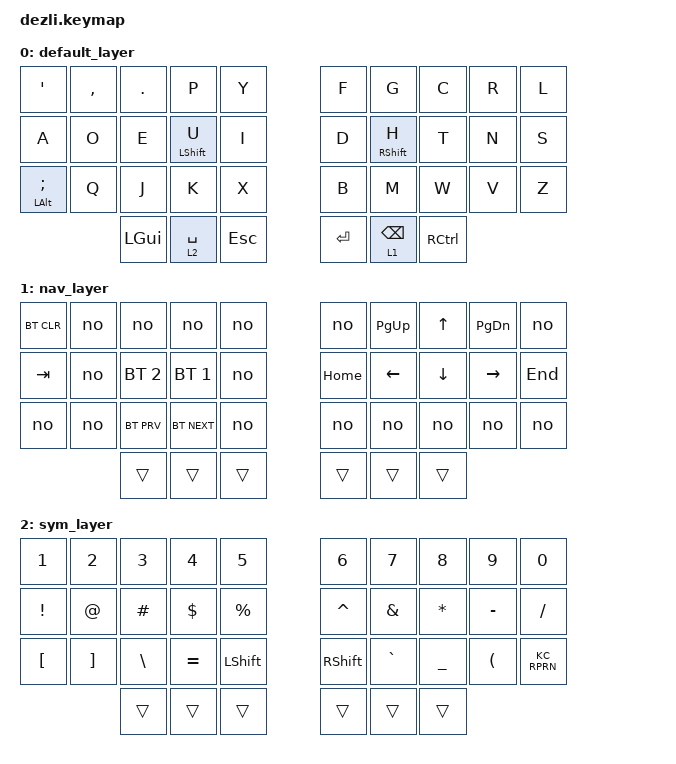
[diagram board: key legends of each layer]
/*
 * Copyright (c) 2020 The ZMK Contributors
 *
 * SPDX-License-Identifier: MIT
 */

#include <behaviors.dtsi>
#include <dt-bindings/zmk/keys.h>
#include <dt-bindings/zmk/bt.h>

#define default_layer 0
#define nav_layer   1
#define sym_layer   2

/ {

  behaviors {
      hm: homerow_mods {
        compatible = "zmk,behavior-hold-tap";
        label = "HOMEROW_MODS";
        #binding-cells = <2>;
        tapping_term_ms = <150>;
        flavor = "tap-preferred";
        bindings = <&kp>, <&kp>;
    };
};
        keymap {
                compatible = "zmk,keymap";

                default_layer {
                        bindings = <
   &kp SQT  &kp CMMA &kp DOT &kp P &kp Y &kp F &kp G  &kp C &kp R &kp L
   &kp A    &kp O    &kp E   &hm LSHFT U &kp I &kp D &hm RSHFT H &kp T &kp N &kp S
   &hm LALT SEMI &kp Q    &kp J   &kp K &kp X &kp B &kp M  &kp W &kp V &kp Z
   &kp LGUI &lt 2 SPACE &kp ESC   &kp RET &lt 1 BSPC &kp RCTRL
                        >;
                };
                nav_layer {
                        bindings = <
   &bt BT_CLR   &no  &no  &no &no     &no  &kp PG_UP &kp UP &kp PG_DN  &no
   &kp TAB &no &bt BT_SEL 2 &bt BT_SEL 1 &no      &kp HOME &kp LEFT &kp DOWN &kp RIGHT &kp END
   &no &no  &bt BT_PRV   &bt BT_NEXT   &no     &no &no &no   &no    &no
                        &trans   &trans   &trans     &trans   &trans   &trans
                        >;
                };

                sym_layer {
                        bindings = <
   &kp N1  &kp N2  &kp N3  &kp N4  &kp N5    &kp N6  &kp N7 &kp N8 &kp N9 &kp N0
  &kp EXCL  &kp AT    &kp HASH    &kp DLLR    &kp PRCNT      &kp CARET &kp AMPS &kp STAR &kp MINUS &kp SLASH
   &kp LBKT  &kp RBKT  &kp BSLH  &kp EQUAL  &kp LSHFT      &kp RSHFT    &kp GRAVE   &kp UNDER &kp LPAR &kp KC_RPRN
                       &trans  &trans    &trans     &trans   &trans   &trans
                        >;
                };

        };
};
